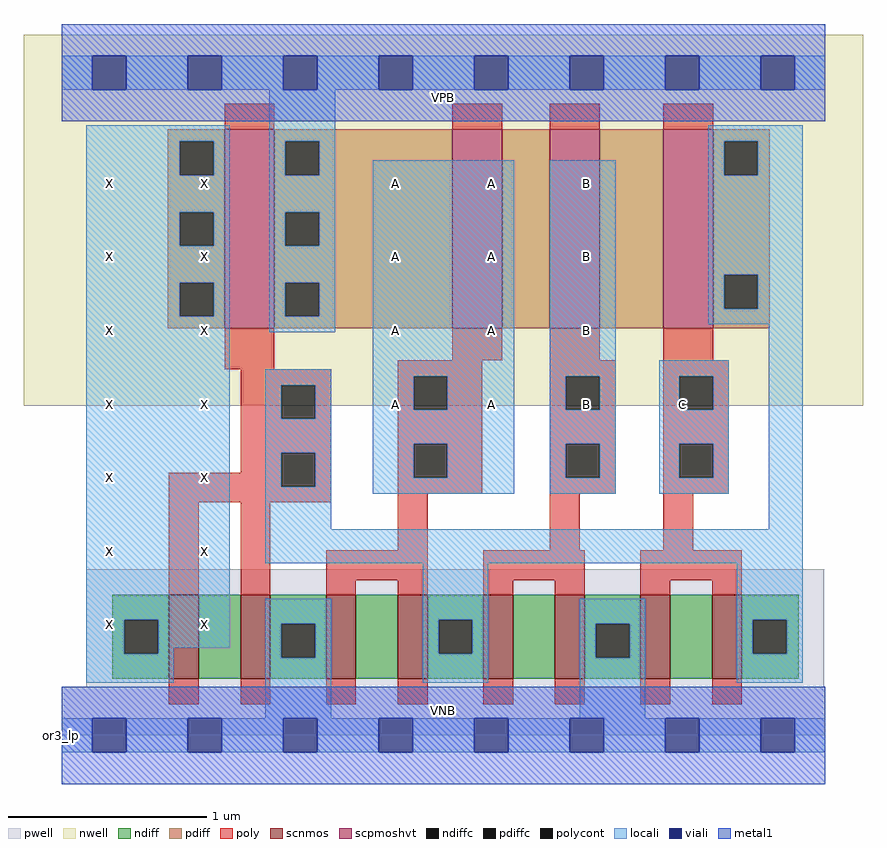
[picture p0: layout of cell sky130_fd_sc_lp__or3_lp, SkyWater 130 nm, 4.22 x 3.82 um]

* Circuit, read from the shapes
.subckt sky130_fd_sc_lp__or3_lp A B C VGND VNB VPB VPWR X
XM1 n1 n2 X VNB sky130_fd_pr__nfet_01v8 w=0.42 l=0.15
XM2 VGND n2 n1 VNB sky130_fd_pr__nfet_01v8 w=0.42 l=0.15
XM3 n3 A VGND VNB sky130_fd_pr__nfet_01v8 w=0.42 l=0.15
XM4 n2 A n3 VNB sky130_fd_pr__nfet_01v8 w=0.42 l=0.15
XM5 n4 B n2 VNB sky130_fd_pr__nfet_01v8 w=0.42 l=0.15
XM6 VGND B n4 VNB sky130_fd_pr__nfet_01v8 w=0.42 l=0.15
XM7 n5 C VGND VNB sky130_fd_pr__nfet_01v8 w=0.42 l=0.15
XM8 n2 C n5 VNB sky130_fd_pr__nfet_01v8 w=0.42 l=0.15
XM9 VPWR n2 X VPB sky130_fd_pr__pfet_01v8_hvt w=1 l=0.25
XM10 n6 A VPWR VPB sky130_fd_pr__pfet_01v8_hvt w=1 l=0.25
XM11 n7 B n6 VPB sky130_fd_pr__pfet_01v8_hvt w=1 l=0.25
XM12 n2 C n7 VPB sky130_fd_pr__pfet_01v8_hvt w=1 l=0.25
.ends

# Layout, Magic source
magic
tech sky130A
magscale 1 2
<< nwell >>
rect -38 331 806 704
<< pwell >>
rect 25 49 767 167
rect 0 0 768 49
<< scnmos >>
rect 108 57 138 141
rect 180 57 210 141
rect 266 57 296 141
rect 338 57 368 141
rect 424 57 454 141
rect 496 57 526 141
rect 582 57 612 141
rect 654 57 684 141
<< scpmoshvt >>
rect 164 409 214 609
rect 393 409 443 609
rect 491 409 541 609
rect 605 409 655 609
<< ndiff >>
rect 51 116 108 141
rect 51 82 63 116
rect 97 82 108 116
rect 51 57 108 82
rect 138 57 180 141
rect 210 112 266 141
rect 210 78 221 112
rect 255 78 266 112
rect 210 57 266 78
rect 296 57 338 141
rect 368 116 424 141
rect 368 82 379 116
rect 413 82 424 116
rect 368 57 424 82
rect 454 57 496 141
rect 526 112 582 141
rect 526 78 537 112
rect 571 78 582 112
rect 526 57 582 78
rect 612 57 654 141
rect 684 116 741 141
rect 684 82 695 116
rect 729 82 741 116
rect 684 57 741 82
<< pdiff >>
rect 107 597 164 609
rect 107 563 119 597
rect 153 563 164 597
rect 107 526 164 563
rect 107 492 119 526
rect 153 492 164 526
rect 107 455 164 492
rect 107 421 119 455
rect 153 421 164 455
rect 107 409 164 421
rect 214 597 393 609
rect 214 563 225 597
rect 259 563 393 597
rect 214 526 393 563
rect 214 492 225 526
rect 259 492 393 526
rect 214 455 393 492
rect 214 421 225 455
rect 259 421 393 455
rect 214 409 393 421
rect 443 409 491 609
rect 541 409 605 609
rect 655 597 712 609
rect 655 563 666 597
rect 700 563 712 597
rect 655 463 712 563
rect 655 429 666 463
rect 700 429 712 463
rect 655 409 712 429
<< ndiffc >>
rect 63 82 97 116
rect 221 78 255 112
rect 379 82 413 116
rect 537 78 571 112
rect 695 82 729 116
<< pdiffc >>
rect 119 563 153 597
rect 119 492 153 526
rect 119 421 153 455
rect 225 563 259 597
rect 225 492 259 526
rect 225 421 259 455
rect 666 563 700 597
rect 666 429 700 463
<< poly >>
rect 164 609 214 635
rect 393 609 443 635
rect 491 609 541 635
rect 605 609 655 635
rect 164 368 214 409
rect 393 377 443 409
rect 491 377 541 409
rect 605 377 655 409
rect 180 352 271 368
rect 180 318 221 352
rect 255 318 271 352
rect 180 284 271 318
rect 180 264 221 284
rect 108 250 221 264
rect 255 250 271 284
rect 108 234 271 250
rect 338 361 423 377
rect 338 327 354 361
rect 388 327 423 361
rect 338 293 423 327
rect 338 259 354 293
rect 388 259 423 293
rect 338 243 423 259
rect 491 361 557 377
rect 491 327 507 361
rect 541 327 557 361
rect 491 293 557 327
rect 491 259 507 293
rect 541 259 557 293
rect 491 243 557 259
rect 605 361 671 377
rect 605 327 621 361
rect 655 327 671 361
rect 605 293 671 327
rect 605 259 621 293
rect 655 259 671 293
rect 605 243 671 259
rect 108 141 138 234
rect 180 141 210 234
rect 338 186 368 243
rect 491 186 521 243
rect 605 186 635 243
rect 266 156 368 186
rect 266 141 296 156
rect 338 141 368 156
rect 424 156 526 186
rect 424 141 454 156
rect 496 141 526 156
rect 582 156 684 186
rect 582 141 612 156
rect 654 141 684 156
rect 108 31 138 57
rect 180 31 210 57
rect 266 31 296 57
rect 338 31 368 57
rect 424 31 454 57
rect 496 31 526 57
rect 582 31 612 57
rect 654 31 684 57
<< polycont >>
rect 221 318 255 352
rect 221 250 255 284
rect 354 327 388 361
rect 354 259 388 293
rect 507 327 541 361
rect 507 259 541 293
rect 621 327 655 361
rect 621 259 655 293
<< locali >>
rect 0 649 31 683
rect 65 649 127 683
rect 161 649 223 683
rect 257 649 319 683
rect 353 649 415 683
rect 449 649 511 683
rect 545 649 607 683
rect 641 649 703 683
rect 737 649 768 683
rect 25 597 169 613
rect 25 563 119 597
rect 153 563 169 597
rect 25 526 169 563
rect 25 492 119 526
rect 153 492 169 526
rect 25 455 169 492
rect 25 421 119 455
rect 153 421 169 455
rect 25 116 169 421
rect 209 597 275 649
rect 209 563 225 597
rect 259 563 275 597
rect 650 597 745 613
rect 209 526 275 563
rect 209 492 225 526
rect 259 492 275 526
rect 209 455 275 492
rect 209 421 225 455
rect 259 421 275 455
rect 209 405 275 421
rect 205 352 271 368
rect 205 318 221 352
rect 255 318 271 352
rect 205 284 271 318
rect 205 250 221 284
rect 255 250 271 284
rect 205 207 271 250
rect 313 361 455 578
rect 313 327 354 361
rect 388 327 455 361
rect 313 293 455 327
rect 313 259 354 293
rect 388 259 455 293
rect 313 243 455 259
rect 491 361 557 578
rect 650 563 666 597
rect 700 563 745 597
rect 650 463 745 563
rect 650 429 666 463
rect 700 429 745 463
rect 650 413 745 429
rect 491 327 507 361
rect 541 327 557 361
rect 491 293 557 327
rect 491 259 507 293
rect 541 259 557 293
rect 491 243 557 259
rect 601 361 671 377
rect 601 327 621 361
rect 655 327 671 361
rect 601 293 671 327
rect 601 259 621 293
rect 655 259 671 293
rect 601 243 671 259
rect 711 207 745 413
rect 205 173 745 207
rect 25 82 63 116
rect 97 88 169 116
rect 205 112 271 137
rect 97 82 113 88
rect 25 53 113 82
rect 205 78 221 112
rect 255 78 271 112
rect 205 17 271 78
rect 363 116 429 173
rect 363 82 379 116
rect 413 82 429 116
rect 363 53 429 82
rect 521 112 587 137
rect 521 78 537 112
rect 571 78 587 112
rect 521 17 587 78
rect 679 116 745 173
rect 679 82 695 116
rect 729 82 745 116
rect 679 53 745 82
rect 0 -17 31 17
rect 65 -17 127 17
rect 161 -17 223 17
rect 257 -17 319 17
rect 353 -17 415 17
rect 449 -17 511 17
rect 545 -17 607 17
rect 641 -17 703 17
rect 737 -17 768 17
<< viali >>
rect 31 649 65 683
rect 127 649 161 683
rect 223 649 257 683
rect 319 649 353 683
rect 415 649 449 683
rect 511 649 545 683
rect 607 649 641 683
rect 703 649 737 683
rect 31 -17 65 17
rect 127 -17 161 17
rect 223 -17 257 17
rect 319 -17 353 17
rect 415 -17 449 17
rect 511 -17 545 17
rect 607 -17 641 17
rect 703 -17 737 17
<< metal1 >>
rect 0 683 768 715
rect 0 649 31 683
rect 65 649 127 683
rect 161 649 223 683
rect 257 649 319 683
rect 353 649 415 683
rect 449 649 511 683
rect 545 649 607 683
rect 641 649 703 683
rect 737 649 768 683
rect 0 617 768 649
rect 0 17 768 49
rect 0 -17 31 17
rect 65 -17 127 17
rect 161 -17 223 17
rect 257 -17 319 17
rect 353 -17 415 17
rect 449 -17 511 17
rect 545 -17 607 17
rect 641 -17 703 17
rect 737 -17 768 17
rect 0 -49 768 -17
<< labels >>
flabel pwell s 0 0 768 49 0 FreeSans 200 0 0 0 VNB
port 5 nsew ground bidirectional
flabel nwell s 0 617 768 666 0 FreeSans 200 0 0 0 VPB
port 6 nsew power bidirectional
rlabel comment s 0 0 0 0 4 or3_lp
flabel metal1 s 0 617 768 666 0 FreeSans 340 0 0 0 VPWR
port 7 nsew power bidirectional
flabel metal1 s 0 0 768 49 0 FreeSans 340 0 0 0 VGND
port 4 nsew ground bidirectional
flabel locali s 607 316 641 350 0 FreeSans 340 0 0 0 C
port 3 nsew signal input
flabel locali s 511 316 545 350 0 FreeSans 340 0 0 0 B
port 2 nsew signal input
flabel locali s 511 390 545 424 0 FreeSans 340 0 0 0 B
port 2 nsew signal input
flabel locali s 511 464 545 498 0 FreeSans 340 0 0 0 B
port 2 nsew signal input
flabel locali s 511 538 545 572 0 FreeSans 340 0 0 0 B
port 2 nsew signal input
flabel locali s 319 316 353 350 0 FreeSans 340 0 0 0 A
port 1 nsew signal input
flabel locali s 319 390 353 424 0 FreeSans 340 0 0 0 A
port 1 nsew signal input
flabel locali s 319 464 353 498 0 FreeSans 340 0 0 0 A
port 1 nsew signal input
flabel locali s 319 538 353 572 0 FreeSans 340 0 0 0 A
port 1 nsew signal input
flabel locali s 415 316 449 350 0 FreeSans 340 0 0 0 A
port 1 nsew signal input
flabel locali s 415 390 449 424 0 FreeSans 340 0 0 0 A
port 1 nsew signal input
flabel locali s 415 464 449 498 0 FreeSans 340 0 0 0 A
port 1 nsew signal input
flabel locali s 415 538 449 572 0 FreeSans 340 0 0 0 A
port 1 nsew signal input
flabel locali s 31 94 65 128 0 FreeSans 340 0 0 0 X
port 8 nsew signal output
flabel locali s 31 168 65 202 0 FreeSans 340 0 0 0 X
port 8 nsew signal output
flabel locali s 31 242 65 276 0 FreeSans 340 0 0 0 X
port 8 nsew signal output
flabel locali s 31 316 65 350 0 FreeSans 340 0 0 0 X
port 8 nsew signal output
flabel locali s 31 390 65 424 0 FreeSans 340 0 0 0 X
port 8 nsew signal output
flabel locali s 31 464 65 498 0 FreeSans 340 0 0 0 X
port 8 nsew signal output
flabel locali s 31 538 65 572 0 FreeSans 340 0 0 0 X
port 8 nsew signal output
flabel locali s 127 94 161 128 0 FreeSans 340 0 0 0 X
port 8 nsew signal output
flabel locali s 127 168 161 202 0 FreeSans 340 0 0 0 X
port 8 nsew signal output
flabel locali s 127 242 161 276 0 FreeSans 340 0 0 0 X
port 8 nsew signal output
flabel locali s 127 316 161 350 0 FreeSans 340 0 0 0 X
port 8 nsew signal output
flabel locali s 127 390 161 424 0 FreeSans 340 0 0 0 X
port 8 nsew signal output
flabel locali s 127 464 161 498 0 FreeSans 340 0 0 0 X
port 8 nsew signal output
flabel locali s 127 538 161 572 0 FreeSans 340 0 0 0 X
port 8 nsew signal output
<< properties >>
string LEFsite unit
string LEFclass CORE
string FIXED_BBOX 0 0 768 666
string GDS_FILE $PDKPATH/libs.ref/sky130_fd_sc_lp/gds/sky130_fd_sc_lp.gds
string LEFsymmetry X Y R90
string GDS_END 3175784
string GDS_START 3167202
<< end >>
